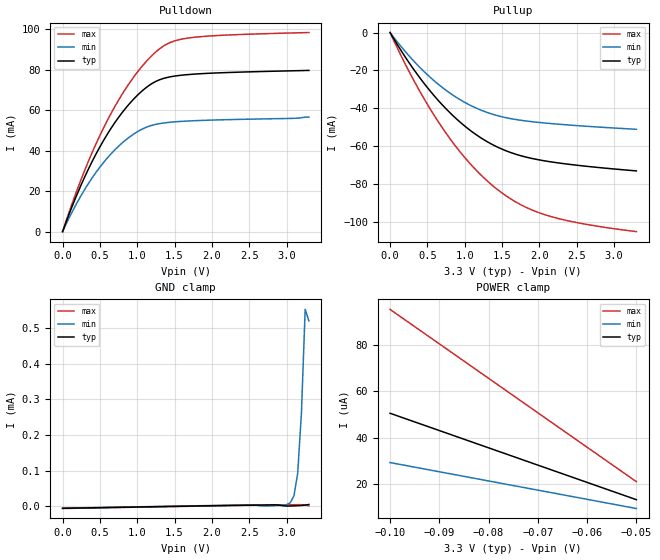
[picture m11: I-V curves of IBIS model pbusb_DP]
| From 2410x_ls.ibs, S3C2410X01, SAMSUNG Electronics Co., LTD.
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[Model] pbusb_DP
 Model_type  3-state
 Polarity   Non-Inverting
 Enable   Active-High
|variable   typ   min   max
 C_comp   2pF   2pF   2pF
|variable   typ   min   max
[Temperature Range]   25.0   0   70
|variable   typ   min   max
[Voltage Range]   3.3V   3.0V   3.6V
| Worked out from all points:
|   slope of the pulldown table from 0 to 0.495 V, typ, clamps not added: 11.9 ohm
|   slope of the pullup table from 0 to 0.495 V, typ, clamps not added: 17.1 ohm
[Pullup]
|  voltage   I(typ)   I(min)   I(max)
0V        4.783uA    4.275uA    5.27uA
150mV     -9.683mA   -7.529mA   -12.47mA
350mV     -21.32mA   -16.45mA   -27.66mA
500mV     -29.11mA   -22.31mA   -37.99mA
700mV     -38.27mA   -29.06mA   -50.39mA
850mV     -44.25mA   -33.33mA   -58.67mA
1.05V     -51.04mA   -37.99mA   -68.38mA
1.4V      -59.85mA   -43.53mA   -81.84mA
1.75V     -65.16mA   -46.41mA   -91.06mA
2.1V      -68.08mA   -47.96mA   -96.71mA
2.6V      -70.63mA   -49.5mA    -101.3mA
3.3V      -73.2mA    -51.21mA   -105.3mA
[Pulldown]
|  voltage   I(typ)   I(min)   I(max)
0V        -6.071uA   -5.52uA    -6.624uA
150mV     14.51mA    11.3mA     16.14mA
300mV     27.3mA     21.06mA    30.62mA
450mV     38.48mA    29.39mA    43.52mA
650mV     51.06mA    38.46mA    58.42mA
800mV     58.87mA    43.85mA    67.97mA
1V        67.24mA    49.27mA    78.66mA
1.15V     71.97mA    51.93mA    85.19mA
1.3V      75mA       53.34mA    90.3mA
1.5V      76.79mA    54.2mA     94.16mA
1.75V     77.73mA    54.74mA    95.9mA
3.3V      79.6mA     56.56mA    98.3mA
[Ramp]
| variable   typ   min   max
dV/dt_r  1.0347/116E-09	 1.0285/121.7E-09   1.3402/131.7E-09
dV/dt_f  1.5765/149E-09  1.383/139.5E-09   2.193/189.6E-09
R_load = 50ohms
[POWER_clamp]
|  voltage   I(typ)   I(min)   I(max)
-100mV    50.48uA    29.21uA    95.29uA
-50mV     13.2uA     9.385uA    20.96uA
[GND_clamp]
|  voltage   I(typ)   I(min)   I(max)
0V        -6.071uA   -5.52uA    -6.624uA
2.55V     2.851uA    3.13uA     2.622uA
2.75V     3.347uA    671.3nA    3.109uA
3V        317.2nA    4.275uA    3.718uA
3.05V     385.7nA    9.385uA    3.841uA
3.1V      816.8nA    29.21uA    3.965uA
3.15V     1.355uA    93.05uA    4.094uA
3.2V      1.982uA    262.2uA    4.238uA
3.25V     2.873uA    553uA      3.562uA
3.3V      4.783uA    520.9uA    969.1nA
